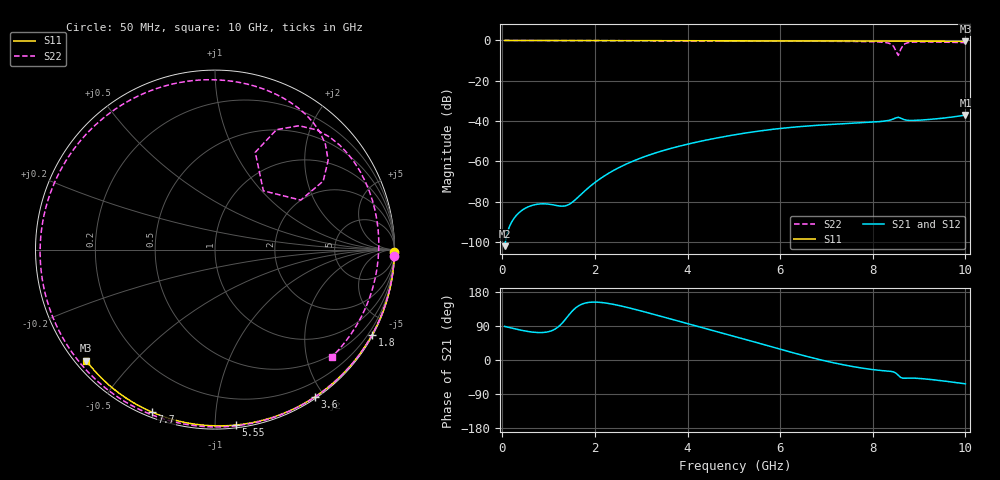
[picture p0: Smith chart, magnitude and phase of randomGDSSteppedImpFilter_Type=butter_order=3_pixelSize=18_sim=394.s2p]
! freq	dB(S11)	phase(S11)	dB(S12)	phase(S12)
!  dB(S21)	phase(S21)	dB(S22)	phase(S22)
!S-par simulation data
#  GHz  S  DB  R 50
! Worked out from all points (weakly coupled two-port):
!   200 points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, 50 MHz to 10 GHz, reference 50 ohm
!   highest |S21| = -37.03 dB at 10 GHz (marker M1); lowest = -102.1 dB at 50 MHz (marker M2)
!   lowest |S11| = -0.5 dB at 10 GHz (marker M3), VSWR 36.94, Z = 1.54 - j18.5 ohm
!   |S11| at or under -10 dB: nowhere
!   |S22| runs from -7.4 to 0.0 dB; largest |S21 - S12| = 0
!   S11 on the Smith chart (normalised r, x): 50 MHz: open; 1.8 GHz: 0.03, -3.92; 3.6 GHz: 0.02, -1.88; 5.55 GHz: 0.02, -1.12; 7.7 GHz: 0.02, -0.69; 10 GHz: 0.03, -0.37
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0.05  -0.00 -0.8  -102.13 88.6  -102.13 88.6  -0.00 -2.2
0.7  -0.01 -11.2  -81.54 73.0  -81.54 73.0  -0.04 -30.1
1.5  -0.03 -23.9  -80.53 127.7  -80.53 127.7  -0.08 -62.8
1.75  -0.04 -27.9  -75.37 148.7  -75.37 148.7  -0.09 -72.4
1.8  -0.04 -28.6  -74.33 150.5  -74.33 150.5  -0.09 -74.3
2.5  -0.05 -39.4  -63.34 144.3  -63.34 144.3  -0.11 -99.8
3.4  -0.07 -53.0  -55.18 116.1  -55.18 116.1  -0.15 -129.7
3.6  -0.08 -55.9  -53.84 109.5  -53.84 109.5  -0.16 -136.1
5.05  -0.12 -76.5  -46.70 61.1  -46.70 61.1  -0.23 179.5
5.55  -0.14 -83.3  -44.96 44.0  -44.96 44.0  -0.26 163.9
6.7  -0.19 -98.5  -42.28 5.6  -42.28 5.6  -0.36 125.1
7.7  -0.25 -111.2  -40.93 -20.0  -40.93 -20.0  -0.51 83.9
8.1  -0.28 -116.1  -40.37 -26.8  -40.37 -26.8  -0.71 62.7
8.35  -0.30 -119.2  -39.65 -29.5  -39.65 -29.5  -1.40 43.7
8.5  -0.32 -121.0  -38.40 -34.6  -38.40 -34.6  -5.17 30.0
8.55  -0.32 -121.7  -38.16 -40.4  -38.16 -40.4  -7.45 50.6
8.6  -0.33 -122.3  -38.52 -45.8  -38.52 -45.8  -4.63 67.5
8.65  -0.33 -122.9  -39.07 -47.9  -39.07 -47.9  -2.49 62.9
8.75  -0.34 -124.1  -39.62 -47.9  -39.62 -47.9  -1.17 49.8
9.15  -0.38 -129.0  -39.35 -50.2  -39.35 -50.2  -0.74 17.4
9.55  -0.42 -133.8  -38.48 -55.7  -38.48 -55.7  -0.85 -10.3
10  -0.47 -139.3  -37.03 -63.0  -37.03 -63.0  -1.07 -42.4
